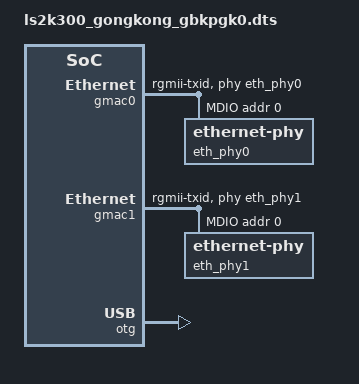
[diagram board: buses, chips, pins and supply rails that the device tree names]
#include "ls2k300_g2k03z2_core.dtsi"

/ {
	sysinfo-smbios {
		compatible = "u-boot,sysinfo-smbios";
		u-boot,dm-pre-reloc;

		smbios {
			system {
				manufacturer = "Loongson";
				product = "LS2K300";
			};

			baseboard {
				manufacturer = "Loongson";
				product = "LS2K300-GONGKONG-GBKPGK0";
			};

			chassis {
				manufacturer = "Loongson";
				product = "LS2K300-GONGKONG-GBKPGK0";
			};
		};
	};
};

&gmac0 {
	status = "okay";
	phy-mode = "rgmii-txid";
	phy-handle = <&eth_phy0>;
	mdio0: mdio@0 {
		#address-cells = <1>;
		#size-cells = <0>;
		compatible = "snps,dwmac-mdio";

		eth_phy0: ethernet-phy@0 {
			reg = <0>;
		};
	};
};

&gmac1 {
	status = "okay";
	phy-mode = "rgmii-txid";
	phy-handle = <&eth_phy1>;
	mdio1: mdio@1 {
		#address-cells = <1>;
		#size-cells = <0>;
		compatible = "snps,dwmac-mdio";

		eth_phy1: ethernet-phy@1 {
			reg = <0>;
		};
	};
};

&otg {
	status = "okay";
};
